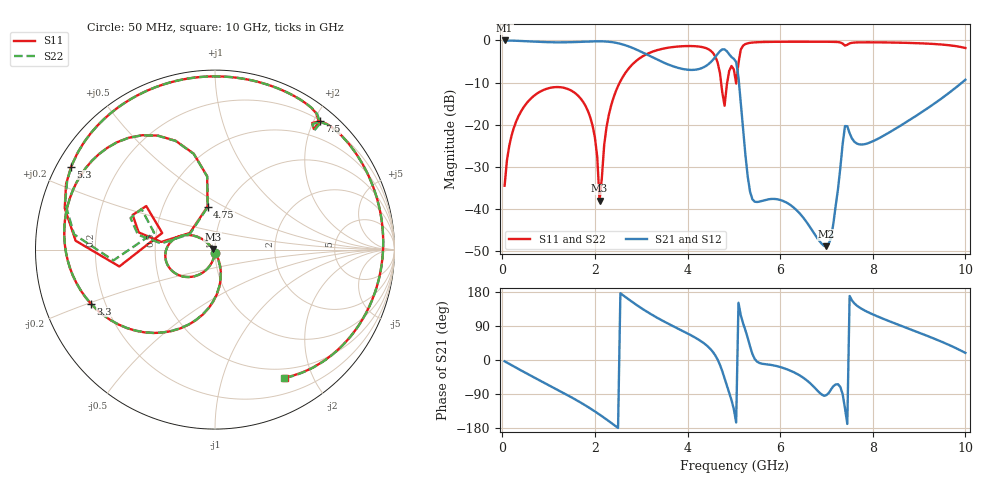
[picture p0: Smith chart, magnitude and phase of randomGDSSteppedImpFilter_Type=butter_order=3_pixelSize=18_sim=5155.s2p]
! freq	dB(S11)	phase(S11)	dB(S12)	phase(S12)
!  dB(S21)	phase(S21)	dB(S22)	phase(S22)
!S-par simulation data
#  GHz  S  DB  R 50
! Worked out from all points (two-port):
!   200 points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, 50 MHz to 10 GHz, reference 50 ohm
!   highest |S21| = -0.01 dB at 50 MHz (marker M1); lowest = -48.7 dB at 7 GHz (marker M2)
!   |S21| within 3 dB of the highest: start of sweep to 3.059 GHz; 4.665 GHz to 4.881 GHz (215.9 MHz wide, 4.52 % of centre)
!   lowest |S11| = -38.0 dB at 2.1 GHz (marker M3), VSWR 1.03, Z = 48.8 + j0.397 ohm
!   |S11| at or under -10 dB: start of sweep to 2.535 GHz; 4.725 GHz to 4.856 GHz (131.2 MHz wide, 2.74 % of centre); 5.046756 GHz to 5.052226 GHz (5.469 MHz wide, 0.108 % of centre)
!   |S22| runs from -37.5 to -0.3 dB; largest |S21 - S12| = 0
!   S11 on the Smith chart (normalised r, x): 50 MHz: 1.00, -0.04; 3.3 GHz: 0.15, -0.20; 4.75 GHz: 0.82, +0.42; 5.3 GHz: 0.04, +0.27; 7.5 GHz: 0.22, +2.09; 10 GHz: 0.38, -1.63
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0.05  -34.43 -93.3  -0.01 -3.5  -0.01 -3.5  -34.42 -93.3
0.2  -22.54 -103.9  -0.05 -13.7  -0.05 -13.7  -22.54 -103.9
0.6  -13.96 -130.9  -0.23 -40.4  -0.23 -40.4  -13.95 -130.8
1.75  -14.64 154.1  -0.30 -116.5  -0.30 -116.5  -14.63 154.3
2  -23.01 138.4  -0.20 -135.7  -0.20 -135.7  -23.00 139.2
2.1  -37.97 161.2  -0.20 -143.9  -0.20 -143.9  -37.54 164.6
2.25  -20.59 -72.3  -0.27 -156.8  -0.27 -156.8  -20.58 -73.0
2.45  -12.09 -87.5  -0.55 -174.8  -0.55 -174.8  -12.09 -87.8
3.3  -2.45 -156.5  -4.31 114.5  -4.31 114.5  -2.45 -156.5
3.4  -2.13 -163.2  -4.83 107.7  -4.83 107.7  -2.13 -163.2
4.45  -2.08 127.8  -5.64 34.5  -5.64 34.5  -2.07 127.8
4.75  -12.28 99.8  -2.12 -29.3  -2.12 -29.3  -12.36 99.7
4.9  -7.21 167.3  -3.28 -86.8  -3.28 -86.8  -7.19 169.1
5.05  -10.22 162.5  -5.13 -164.9  -5.13 -164.9  -9.07 164.4
5.1  -5.33 -170.0  -8.68 151.1  -8.68 151.1  -4.89 -173.9
5.3  -0.67 150.0  -32.27 58.4  -32.27 58.4  -0.65 148.9
6.7  -0.31 79.1  -45.15 -67.4  -45.15 -67.4  -0.31 78.6
7  -0.32 67.1  -48.74 -92.5  -48.74 -92.5  -0.32 66.6
7.4  -1.22 50.7  -20.28 -127.7  -20.28 -127.7  -1.27 50.2
7.5  -0.70 50.8  -21.99 169.0  -21.99 169.0  -0.72 50.5
8.35  -0.49 15.4  -21.84 102.7  -21.84 102.7  -0.49 15.0
10  -1.79 -61.2  -9.32 18.8  -9.32 18.8  -1.79 -61.7
